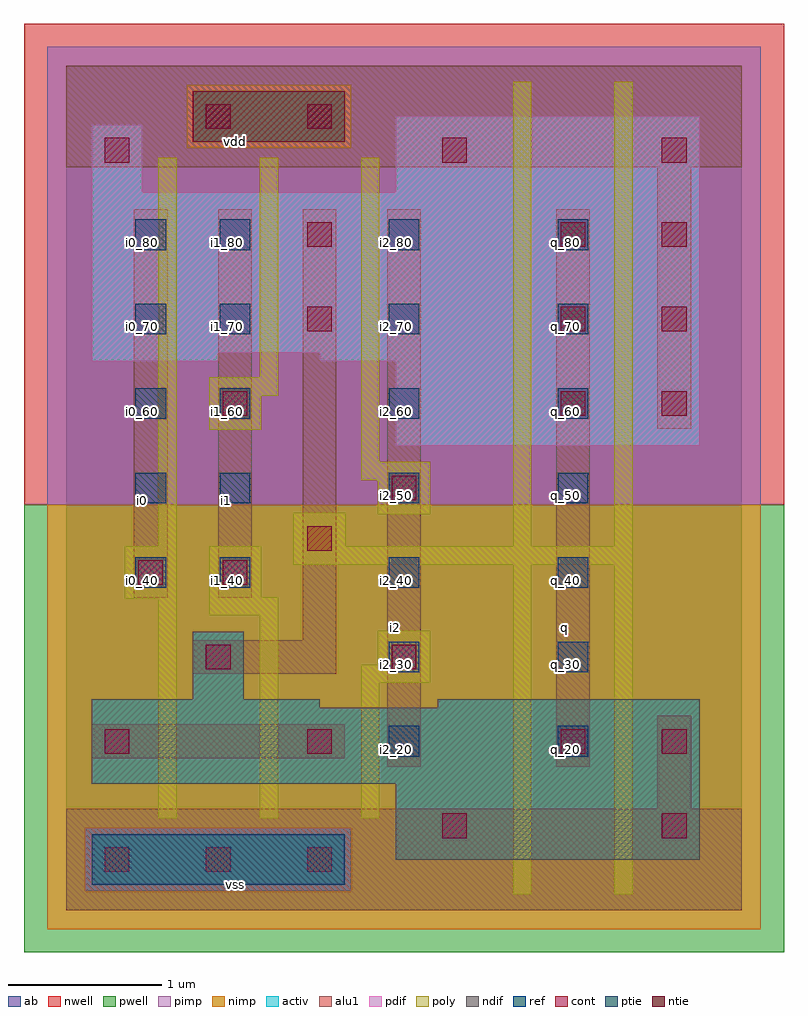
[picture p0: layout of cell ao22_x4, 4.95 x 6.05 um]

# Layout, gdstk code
import gdstk
lib = gdstk.Library(unit=1e-6, precision=2.5e-09)
def R(c, l, rs):  # rectangles x0, y0, x1, y1
    for r in rs: c.add(gdstk.rectangle(r[:2], r[2:], *l))
def A(c, l, x, y, w, h, nx, ny, dx, dy):  # array of equal rectangles
    R(c, l, [(x+i*dx, y+j*dy, x+i*dx+w, y+j*dy+h) for i in range(nx) for j in range(ny)])
ndif = (3, 0)
pdif = (4, 0)
ntie = (5, 0)
ptie = (6, 0)
ref = (24, 0)
cont = (25, 0)
pwell = (41, 0)
nwell = (42, 0)
activ = (43, 0)
pimp = (44, 0)
nimp = (45, 0)
poly = (46, 0)
alu1 = (49, 0)
ab = (63, 0)

ao22_x4 = lib.new_cell('ao22_x4')
R(ao22_x4, ndif, [(2.145,0.33,4.125,0.825), (0.165,0.825,4.125,1.32), (0.165,1.32,1.65,1.375), (2.42,1.32,4.125,1.375), (0.825,1.375,1.155,1.815)])
R(ao22_x4, pdif, [(2.145,3.025,4.125,3.575), (0.165,3.575,0.99,3.63), (1.65,3.575,4.125,3.63), (0.165,3.63,4.125,4.675), (0.165,4.675,0.495,5.115), (2.145,4.675,4.125,5.17)])
R(ao22_x4, ntie, [(0.825,5.005,1.815,5.335)])
R(ao22_x4, ptie, [(0.165,0.165,1.815,0.495)])
A(ao22_x4, ref, 0.45, 2.1, 0.2, 0.2, 1, 5, 0, 0.55)
A(ao22_x4, ref, 1, 2.1, 0.2, 0.2, 3, 5, 1.1, 0.55)
R(ao22_x4, ref, [(2.1,1,2.3,1.2), (3.2,1,3.4,1.2), (2.1,1.55,2.3,1.75), (3.2,1.55,3.4,1.75)])
A(ao22_x4, cont, 0.25, 0.25, 0.16, 0.16, 3, 1, 0.66, 0)
A(ao22_x4, cont, 3.22, 3.22, 0.16, 0.16, 1, 3, 0, 0.55)
A(ao22_x4, cont, 3.88, 3.22, 0.16, 0.16, 1, 4, 0, 0.55)
R(ao22_x4, cont, [(2.45,0.47,2.61,0.63), (3.88,0.47,4.04,0.63), (0.25,1.02,0.41,1.18), (1.57,1.02,1.73,1.18), (3.22,1.02,3.38,1.18), (3.88,1.02,4.04,1.18), (0.91,1.57,1.07,1.73), (2.12,1.57,2.28,1.73), (0.47,2.12,0.63,2.28), (1.02,2.12,1.18,2.28), (1.57,2.34,1.73,2.5), (2.12,2.67,2.28,2.83), (1.02,3.22,1.18,3.38), (1.57,3.77,1.73,3.93), (1.57,4.32,1.73,4.48), (0.25,4.87,0.41,5.03), (2.45,4.87,2.61,5.03), (0.91,5.09,1.07,5.25), (1.57,5.09,1.73,5.25)])
R(ao22_x4, pwell, [(-0.275,-0.275,4.675,2.64)])
R(ao22_x4, nwell, [(-0.275,2.64,4.675,5.775)])
R(ao22_x4, activ, [(0.165,0.165,1.815,0.495), (2.145,0.33,4.125,0.825), (0.165,0.825,4.125,1.32), (0.165,1.32,1.65,1.375), (2.42,1.32,4.125,1.375), (0.825,1.375,1.155,1.815), (2.145,3.025,4.125,3.575), (0.165,3.575,0.99,3.63), (1.65,3.575,4.125,3.63), (0.165,3.63,4.125,4.675), (0.165,4.675,0.495,5.115), (2.145,4.675,4.125,5.17), (0.825,5.005,1.815,5.335)])
R(ao22_x4, pimp, [(0.125,0.125,1.855,0.535), (-0.125,2.64,4.525,4.965), (-0.125,4.965,0.785,5.375), (1.855,4.965,4.525,5.375), (-0.125,5.375,4.525,5.625)])
R(ao22_x4, nimp, [(-0.125,-0.125,4.525,0.125), (-0.125,0.125,0.125,0.535), (1.855,0.125,4.525,0.535), (-0.125,0.535,4.525,2.64), (0.785,4.965,1.855,5.375)])
R(ao22_x4, poly, [(2.91,0.105,3.03,2.25), (3.57,0.105,3.69,2.25), (0.6,0.6,0.72,2.03), (1.26,0.6,1.38,1.92), (1.92,0.6,2.04,1.48), (1.92,1.48,2.37,1.6), (2.03,1.6,2.37,1.82), (0.93,1.92,1.38,2.04), (0.38,2.03,0.72,2.37), (0.93,2.04,1.27,2.37), (1.48,2.25,3.69,2.37), (0.6,2.37,0.72,4.9), (1.48,2.37,1.82,2.59), (2.91,2.37,3.03,5.395), (3.57,2.37,3.69,5.395), (2.03,2.58,2.37,2.8), (1.92,2.8,2.37,2.92), (1.92,2.92,2.04,4.9), (0.93,3.13,1.27,3.35), (0.93,3.35,1.38,3.47), (1.26,3.47,1.38,4.9)])
R(ao22_x4, alu1, [(0,0,4.4,0.66), (3.85,0.66,4.07,1.265), (2.09,0.935,2.31,4.565), (3.19,0.935,3.41,4.565), (0.165,0.99,1.815,1.21), (0.825,1.54,1.76,1.76), (1.54,1.76,1.76,4.565), (0.44,2.035,0.66,4.565), (0.99,2.035,1.21,4.565), (3.85,3.135,4.07,4.84), (0,4.84,4.4,5.5)])
R(ao22_x4, ab, [(0,0,4.4,5.5)])
ao22_x4.add(gdstk.Label('vss', (1.1,0.165), layer=49, texttype=0))
ao22_x4.add(gdstk.Label('q', (3.245,1.8425), layer=49, texttype=0))
ao22_x4.add(gdstk.Label('i2', (2.145,1.8425), layer=49, texttype=0))
ao22_x4.add(gdstk.Label('i1', (1.045,2.6675), layer=49, texttype=0))
ao22_x4.add(gdstk.Label('i0', (0.495,2.6675), layer=49, texttype=0))
ao22_x4.add(gdstk.Label('vdd', (1.1,5.005), layer=49, texttype=0))
ao22_x4.add(gdstk.Label('i1_60', (1.05,3.25), layer=24, texttype=0))
ao22_x4.add(gdstk.Label('i1_70', (1.05,3.8), layer=24, texttype=0))
ao22_x4.add(gdstk.Label('i1_80', (1.05,4.35), layer=24, texttype=0))
ao22_x4.add(gdstk.Label('i0_80', (0.5,4.35), layer=24, texttype=0))
ao22_x4.add(gdstk.Label('i0_70', (0.5,3.8), layer=24, texttype=0))
ao22_x4.add(gdstk.Label('i0_60', (0.5,3.25), layer=24, texttype=0))
ao22_x4.add(gdstk.Label('i0_50', (0.5,2.7), layer=24, texttype=0))
ao22_x4.add(gdstk.Label('i0_40', (0.5,2.15), layer=24, texttype=0))
ao22_x4.add(gdstk.Label('i2_30', (2.15,1.6), layer=24, texttype=0))
ao22_x4.add(gdstk.Label('i2_40', (2.15,2.15), layer=24, texttype=0))
ao22_x4.add(gdstk.Label('i2_50', (2.15,2.7), layer=24, texttype=0))
ao22_x4.add(gdstk.Label('i2_60', (2.15,3.25), layer=24, texttype=0))
ao22_x4.add(gdstk.Label('i2_70', (2.15,3.8), layer=24, texttype=0))
ao22_x4.add(gdstk.Label('i2_80', (2.15,4.35), layer=24, texttype=0))
ao22_x4.add(gdstk.Label('i1_40', (1.05,2.15), layer=24, texttype=0))
ao22_x4.add(gdstk.Label('i1_50', (1.05,2.7), layer=24, texttype=0))
ao22_x4.add(gdstk.Label('q_20', (3.25,1.05), layer=24, texttype=0))
ao22_x4.add(gdstk.Label('q_80', (3.25,4.35), layer=24, texttype=0))
ao22_x4.add(gdstk.Label('q_70', (3.25,3.8), layer=24, texttype=0))
ao22_x4.add(gdstk.Label('q_60', (3.25,3.25), layer=24, texttype=0))
ao22_x4.add(gdstk.Label('q_50', (3.25,2.7), layer=24, texttype=0))
ao22_x4.add(gdstk.Label('q_40', (3.25,2.15), layer=24, texttype=0))
ao22_x4.add(gdstk.Label('q_30', (3.25,1.6), layer=24, texttype=0))
ao22_x4.add(gdstk.Label('i2_20', (2.15,1.05), layer=24, texttype=0))

lib.write_gds('ao22_x4.gds')
